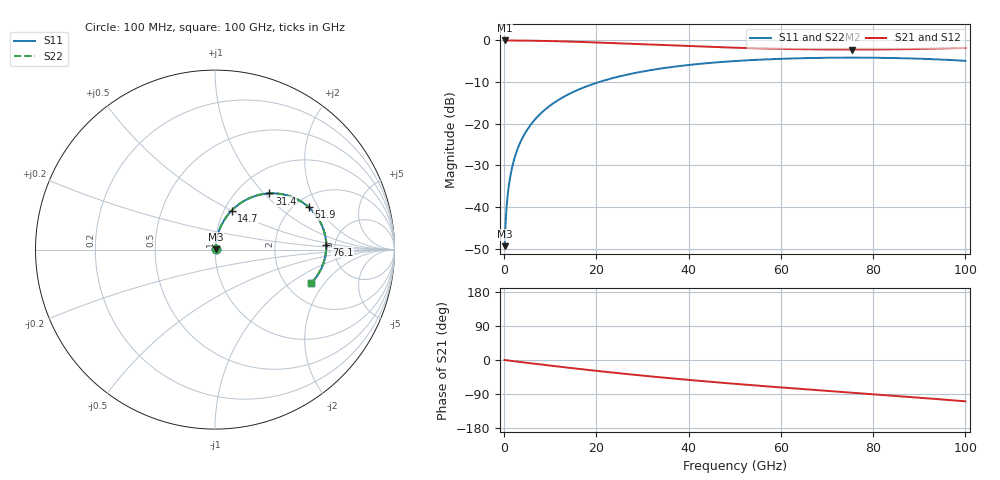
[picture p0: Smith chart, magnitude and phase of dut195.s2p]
! Touchstone file exported from HFSS 2026.1.0
!  File:  C:/ffzhzh/LocalFiles/Ansys_Project_Files/temp_train_RDL_195_1783500611_55944.aedt
!  Generated:  04:51:19 PM Jul  8, 2026
!  Design:  RDL
!  Project:  temp_train_RDL_195_1783500611_55944
! Variables:
!  h_bsmrdl = 2um
!  h_ox = 20um
!  h_rdl = 5um
!  h_sub = 80um
!  h_tmrdl = 2.44um
!  h_tsv = 80um
!  h_via = 3um
!  l_bsmrdl = 300um
!  l_sub = 758.84um
!  l_tmrdl = 358.84um
!  m_sub = 200um
!  pitch = 51.43um
!  r_tsv = 6um
!  s_tmrdl = 10um
!  w_bsmrdl = 18um
!  w_sub = 500um
!  w_tmrdl = 20.2um
!  x_tsv_center1 = 368.94um
!  x_tsv_center2 = 686.94um
!  x_tsv_center3 = 1065.98um
!  x_tsv_center4 = 1383.98um
!  x_tsv_center5 = 1763.02um
!  x_tsv_center6 = 2081.02um
# GHz S MA R 50.000000
! Terminal data exported
! Port[1] = TM_RDL1_1_T1
! Port[2] = TM_RDL1_1_T2
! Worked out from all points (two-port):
!   1000 points, 100 MHz to 100 GHz, reference 50 ohm
!   highest |S21| = -0.02 dB at 100 MHz (marker M1); lowest = -2.2 dB at 75.5 GHz (marker M2)
!   |S21| within 3 dB of the highest: start of sweep to end of sweep
!   lowest |S11| = -49.4 dB at 100 MHz (marker M3), VSWR 1.01, Z = 50.3 + j0.185 ohm
!   |S11| at or under -10 dB: start of sweep to 20.6 GHz
!   |S22| runs from -49.4 to -4.1 dB; largest |S21 - S12| = 1.4e-14
!   S11 on the Smith chart (normalised r, x): 100 MHz: 1.01, +0.00; 14.7 GHz: 1.08, +0.50; 31.4 GHz: 1.39, +1.07; 51.9 GHz: 2.36, +1.66; 76.1 GHz: 4.23, +0.38; 100 GHz: 2.70, -1.49
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0.1  0.003384 32.9  0.9972 -0.2  0.9972 -0.2  0.003384 32.9
! Gamma 0 0 0 0
! Port Impedance 50 0 50 0
0.4  0.007845 66.2  0.9969 -0.6  0.9969 -0.6  0.007845 66.2
0.9  0.0161 76.3  0.9964 -1.4  0.9964 -1.4  0.0161 76.3
1.4  0.02441 79.4  0.9961 -2.1  0.9961 -2.1  0.02441 79.4
1.9  0.03277 80.6  0.9958 -2.9  0.9958 -2.9  0.03277 80.6
2.4  0.04116 81.1  0.9954 -3.6  0.9954 -3.6  0.04116 81.1
3.7  0.06295 80.8  0.994 -5.5  0.994 -5.5  0.06295 80.8
5.6  0.09452 79.0  0.9911 -8.4  0.9911 -8.4  0.09452 79.0
8  0.1336 76.0  0.9861 -11.9  0.9861 -11.9  0.1336 76.0
11  0.1809 71.9  0.9777 -16.2  0.9777 -16.2  0.1809 71.9
14.7  0.2361 66.9  0.9649 -21.4  0.9649 -21.4  0.2361 66.9
16.8  0.2658 64.1  0.9567 -24.3  0.9567 -24.3  0.2658 64.1
23.4  0.3506 55.6  0.9281 -33.0  0.9281 -33.0  0.3506 55.6
31.4  0.4357 45.9  0.8909 -42.9  0.8909 -42.9  0.4357 46.0
33.4  0.454 43.6  0.8817 -45.2  0.8817 -45.2  0.454 43.7
50.1  0.5647 26.2  0.8159 -62.9  0.8159 -62.9  0.5647 26.3
51.9  0.5727 24.4  0.8104 -64.7  0.8104 -64.7  0.5726 24.5
66.7  0.6141 10.8  0.7802 -78.5  0.7802 -78.5  0.614 11.0
75.5  0.6204 3.1  0.7752 -86.3  0.7752 -86.3  0.6203 3.2
76.1  0.6204 2.5  0.7753 -86.9  0.7753 -86.9  0.6203 2.7
83.4  0.6151 -3.9  0.7792 -93.4  0.7792 -93.4  0.6149 -3.7
100  0.5673 -19.3  0.813 -109.1  0.813 -109.1  0.5672 -19.0
